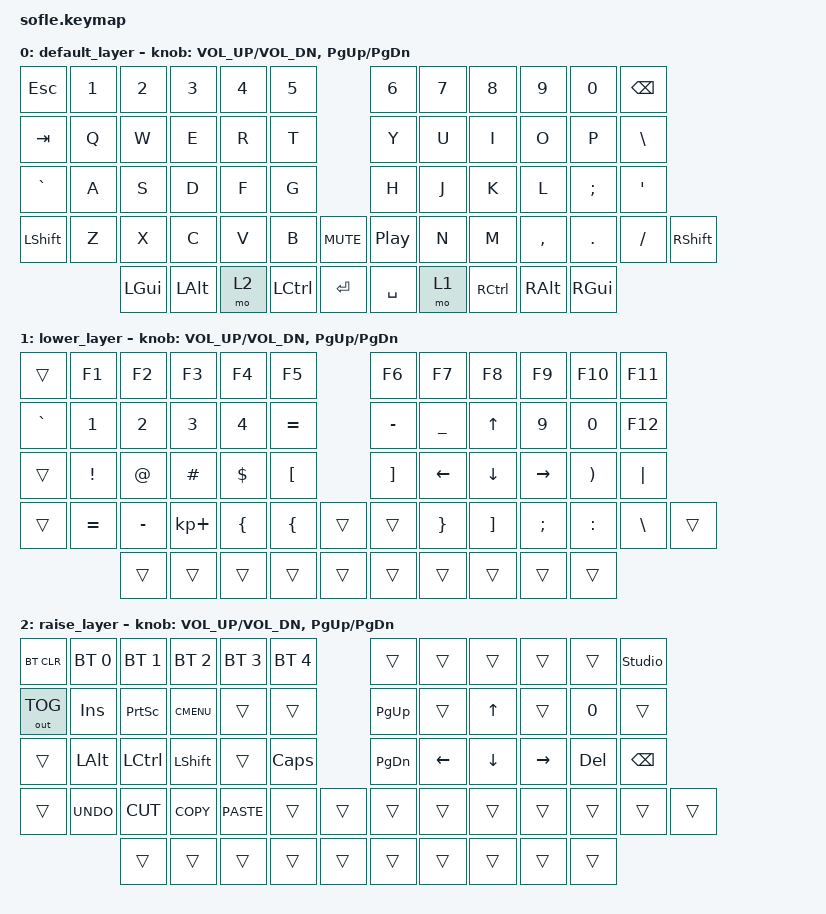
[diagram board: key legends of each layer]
/*
 * Copyright (c) 2020 The ZMK Contributors
 *
 * SPDX-License-Identifier: MIT
 */

#include <behaviors.dtsi>
#include <dt-bindings/zmk/keys.h>
#include <dt-bindings/zmk/bt.h>
#include <dt-bindings/zmk/outputs.h>

/ {
    keymap {
        compatible = "zmk,keymap";

        default_layer {
// ------------------------------------------------------------------------------------------------------------
// |  ESC  |  1  |  2  |  3   |  4   |  5   |                   |  6   |  7    |  8    |  9   |   0   | BKSPC |
// |  TAB  |  Q  |  W  |  E   |  R   |  T   |                   |  Y   |  U    |  I    |  O   |   P   |   \   |
// |`      |  A  |  S  |  D   |  F   |  G   |                   |  H   |  J    |  K    |  L   |   ;   |   '   |
// | SHIFT |  Z  |  X  |  C   |  V   |  B   |  MUTE  |  | PLAY  |  N   |  M    |  ,    |  .   |   /   | SHIFT |
//               | GUI | ALT  | RAISE| CTRL |  ENTER |  | SPACE | LOWER| CTRL  | ALT   | GUI  |
            bindings = <
&kp ESC   &kp N1 &kp N2   &kp N3   &kp N4  &kp N5                           &kp N6 &kp N7    &kp N8    &kp N9   &kp N0   &kp BSPC
&kp TAB   &kp Q  &kp W    &kp E    &kp R   &kp T                            &kp Y  &kp U     &kp I     &kp O    &kp P    &kp BSLH
&kp GRAVE &kp A  &kp S    &kp D    &kp F   &kp G                            &kp H  &kp J     &kp K     &kp L    &kp SEMI &kp SQT
&kp LSHFT &kp Z  &kp X    &kp C    &kp V   &kp B     &kp C_MUTE   &kp C_PLAY_PAUSE     &kp N  &kp M     &kp COMMA &kp DOT  &kp FSLH &kp RSHFT
                 &kp LGUI &kp LALT &mo 2   &kp LCTRL &kp RET      &kp SPACE &mo 1  &kp RCTRL &kp RALT  &kp RGUI
            >;

            sensor-bindings = <&inc_dec_kp C_VOL_UP C_VOL_DN &inc_dec_kp PG_UP PG_DN>;
        };

        lower_layer {
// TODO: Some binds are waiting for shifted keycode support.
// ------------------------------------------------------------------------------------------------------------
// |       |  F1 |  F2 |  F3  |  F4  |  F5  |                   |  F6  |  F7   |  F8   |  F9  |  F10  |  F11  |
// | `     |   1 |   2 |   3  |   4  |   =  |                   |   -  |   _   |   ^   |   9  |    0  |  F12  |
// |       |  !  |  @  |  #   |  $   |  [   |                   |  ]   |    <- |   v   |  ->  |   )   |   |   |
// |       |  =  |  -  |  +   |  {   |  {   |        |  |       |  }   |  ]    |  ;    |  :   |   \   |       |
//               |     |      |      |      |        |  |       |      |       |       |      |
            bindings = <
&trans    &kp F1    &kp F2    &kp F3      &kp F4    &kp F5                    &kp F6    &kp F7   &kp F8          &kp F9    &kp F10   &kp F11
&kp GRAVE &kp N1    &kp N2    &kp N3      &kp N4    &kp EQUAL                 &kp MINUS &kp UNDER &kp UP          &kp N9    &kp N0    &kp F12
&trans    &kp EXCL  &kp AT    &kp HASH    &kp DLLR  &kp LBKT                  &kp RBKT  &kp LEFT &kp DOWN        &kp RIGHT  &kp RPAR  &kp PIPE
&trans    &kp EQUAL &kp MINUS &kp KP_PLUS &kp LBRC  &kp LBRC  &trans   &trans &kp RBRC  &kp RBKT &kp SEMI        &kp COLON &kp BSLH  &trans
                    &trans    &trans      &trans    &trans    &trans   &trans &trans    &trans   &trans          &trans
            >;

            sensor-bindings = <&inc_dec_kp C_VOL_UP C_VOL_DN &inc_dec_kp PG_UP PG_DN>;
        };

        raise_layer {
// ------------------------------------------------------------------------------------------------------------
// |BTCLR| BT1  | BT2  |  BT3  |  BT4  |  BT5 |                |      |      |       |      |       |Studio unlock |
// |OTTOG| INS  | PSCR | GUI   |       |      |                | PGUP |      |   ^   |      |       |       |
// |     | ALT  | CTRL | SHIFT |       | CAPS |                | PGDN |   <- |   v   |  ->  |  DEL  | BKSPC |
// |     | UNDO | CUT  | COPY  | PASTE |      |      |  |      |      |      |       |      |       |       |
//              |      |       |       |      |      |  |      |      |      |       |      |
            bindings = <
&bt BT_CLR &bt BT_SEL 0 &bt BT_SEL 1 &bt BT_SEL 2 &bt BT_SEL 3 &bt BT_SEL 4             &trans    &trans    &trans   &trans    &trans  &studio_unlock
&out OUT_TOG &kp INS      &kp PSCRN    &kp K_CMENU  &trans       &trans                   &kp PG_UP &trans    &kp UP   &trans    &kp N0  &trans
&trans     &kp LALT     &kp LCTRL    &kp LSHFT    &trans       &kp CLCK                 &kp PG_DN &kp LEFT  &kp DOWN &kp RIGHT &kp DEL &kp BSPC
&trans     &kp K_UNDO   &kp K_CUT    &kp K_COPY   &kp K_PASTE  &trans  &trans   &trans  &trans    &trans    &trans   &trans    &trans  &trans
                        &trans       &trans       &trans       &trans  &trans   &trans  &trans    &trans    &trans   &trans
            >;

            sensor-bindings = <&inc_dec_kp C_VOL_UP C_VOL_DN &inc_dec_kp PG_UP PG_DN>;
        };
    };
};
